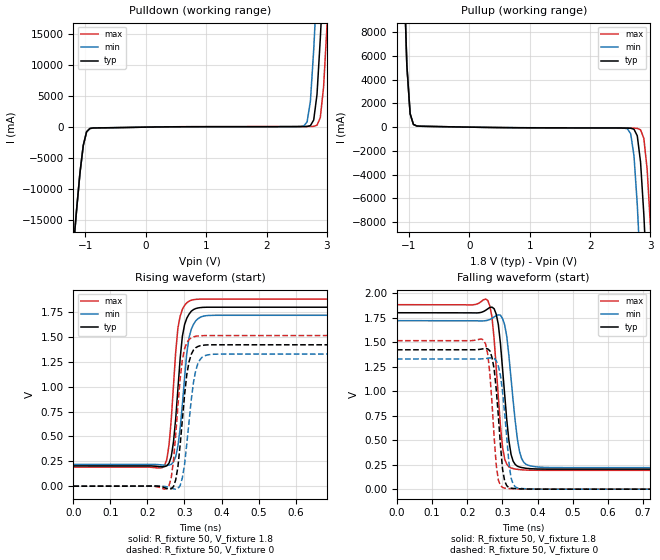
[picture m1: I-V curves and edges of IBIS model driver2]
| IBIS file inv_chain_fast_5ps.ibs created by PYS2IBIS3
| Missouri S&T EMC Lab
[IBIS Ver] 7.1
[File Name] inv_chain_fast_5ps.ibs
[File Rev] 1.0
[Date] Jul 27, 2026
[Source] Eight-stage inv_chain transistor model characterized with s2ibispy
[Notes] Fast-input characterization; tr=tf=5 ps. All other settings match
 inv_chain_slow_1ns.
[Component] invchain
[Manufacturer] s2ibispy study
[Package]
| variable   typ   min   max
R_pkg 0 NA NA
L_pkg 0H NA NA
C_pkg 0F NA NA
[Pin]  signal_name   model_name   R_pin   L_pin   C_pin
VSSQ   VSSQ   Gnd
VCCQ   VCCQ   Power
| IN IN dummy
PAD   PAD   driver2
| End of Component
| Models and submodels in the file (1): driver2 (Output)
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[Model] driver2
Model_type Output
Polarity Non-Inverting
Enable Active-High
Vinl  = 0.8V
Vinh  = 2V
C_comp 0.4680pF NA NA
[Temperature Range] 27.0000 27.0000 27.0000
[Voltage Range] 1.8000V 1.7000V 1.9000V
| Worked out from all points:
|   slope of the pulldown table from 0 to 0.27 V, typ, clamps not added: 6.79 ohm
|   slope of the pullup table from 0 to 0.27 V, typ, clamps not added: 12.6 ohm
|   rising waveform, R_fixture 50, V_fixture 1.8: 20-80 % time 21.3ps typ, 23.2ps min, 20.1ps max; typ from 0.204 V to 1.8 V
|   rising waveform, R_fixture 50, V_fixture 0: 20-80 % time 22.2ps typ, 23.7ps min, 21ps max; typ from 0 V to 1.42 V
|   falling waveform, R_fixture 50, V_fixture 1.8: 20-80 % time 23.1ps typ, 25.6ps min, 21.4ps max; typ from 1.8 V to 0.204 V
|   falling waveform, R_fixture 50, V_fixture 0: 20-80 % time 19.4ps typ, 20.8ps min, 18.1ps max; typ from 1.42 V to 0 V
[Pulldown]
| Voltage   I(typ)   I(min)   I(max)
-1.8V     -87.88A    -87.88A    -87.88A
-1.2V     -19.4A     -19.4A     -19.4A
-1.036V   -2.952A    -2.948A    -2.955A
-927.3mV  -221.8mA   -216.4mA   -227mA
2.618V    95.77mA    193.1mA    97.15mA
2.727V    244.8mA    4.224A     106.4mA
2.782V    1.151A     12.49A     132.5mA
2.836V    5.27A      23.04A     313.7mA
2.891V    14.25A     33.59A     1.533A
2.946V    24.81A     44.15A     6.464A
3V        35.36A     54.71A     16.02A
3.6V      151.5A     170.8A     132.1A
[Pullup]
| Voltage   I(typ)   I(min)   I(max)
-1.8V     151.4A     151.4A     151.4A
-1.091V   14.2A      14.19A     14.2A
-981.8mV  1.13A      1.129A     1.132A
-872.7mV  99.18mA    97.54mA    100.6mA
2.618V    -78.19mA   -142.5mA   -79.21mA
2.727V    -177.2mA   -2.408A    -86.52mA
2.782V    -728.3mA   -6.523A    -104.6mA
2.836V    -2.952A    -12.18A    -222.3mA
2.891V    -7.391A    -18.4A     -950.7mA
2.946V    -13.22A    -24.62A    -3.561A
3V        -19.44A    -30.85A    -8.297A
3.6V      -87.92A    -99.33A    -76.52A
[Ramp]
| variable   typ   min   max
dV/dt_r 0.8532/0.02165n 0.7968/0.02333n 0.9090/0.02043n
dV/dt_f 0.9575/0.023n 0.8972/0.02469n 1.0171/0.02145n
R_load = 50
[Rising Waveform]
R_fixture = 50
V_fixture = 1.8
|time   V(typ)   V(min)   V(max)
0s        204.2mV    219.5mV    192.2mV
246.2ps   197mV      210.5mV    208.4mV
258.3ps   232.1mV    211.9mV    416.2mV
270.3ps   444.2mV    245.3mV    1.008V
282.3ps   978.1mV    403.6mV    1.591V
288.3ps   1.283V     581.5mV    1.71V
300.3ps   1.626V     1.092V     1.819V
312.3ps   1.73V      1.494V     1.861V
336.3ps   1.792V     1.684V     1.881V
6ns       1.8V       1.719V     1.882V
[Rising Waveform]
R_fixture = 50
V_fixture = 0
|time   V(typ)   V(min)   V(max)
0s        13.08nV    12.76nV    13.48nV
252.3ps   -23.48mV   -6.024mV   -24.14mV
264.3ps   -26.26mV   -19.14mV   87.11mV
276.3ps   63.08mV    -29.93mV   518.8mV
288.3ps   415.5mV    5.45mV     1.081V
300.3ps   920.7mV    221.6mV    1.384V
312.3ps   1.251V     652.2mV    1.475V
324.3ps   1.37V      1.043V     1.502V
342.3ps   1.413V     1.274V     1.513V
6ns       1.422V     1.328V     1.515V
[Falling Waveform]
R_fixture = 50
V_fixture = 1.8
|time   V(typ)   V(min)   V(max)
0s        1.8V       1.719V     1.882V
252.3ps   1.825V     1.719V     1.94V
264.3ps   1.855V     1.731V     1.868V
276.3ps   1.841V     1.757V     1.533V
288.3ps   1.679V     1.779V     925.6mV
306.3ps   956.8mV    1.676V     306.3mV
324.3ps   356.7mV    1.134V     217.2mV
342.3ps   234.7mV    515.2mV    202mV
354.4ps   220.5mV    313.5mV    197.3mV
6ns       204.2mV    219.5mV    192.2mV
[Falling Waveform]
R_fixture = 50
V_fixture = 0
|time   V(typ)   V(min)   V(max)
0s        1.422V     1.328V     1.515V
246.2ps   1.433V     1.331V     1.522V
258.3ps   1.431V     1.336V     1.375V
270.3ps   1.343V     1.341V     876.5mV
288.3ps   746.6mV    1.254V     94.53mV
300.3ps   203.8mV    992.8mV    17.05mV
318.3ps   16.44mV    272.9mV    5.916mV
336.3ps   5.66mV     23.58mV    2.406mV
396.4ps   235.1uV    851.1uV    62.27uV
6ns       13.08nV    12.76nV    13.49nV
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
